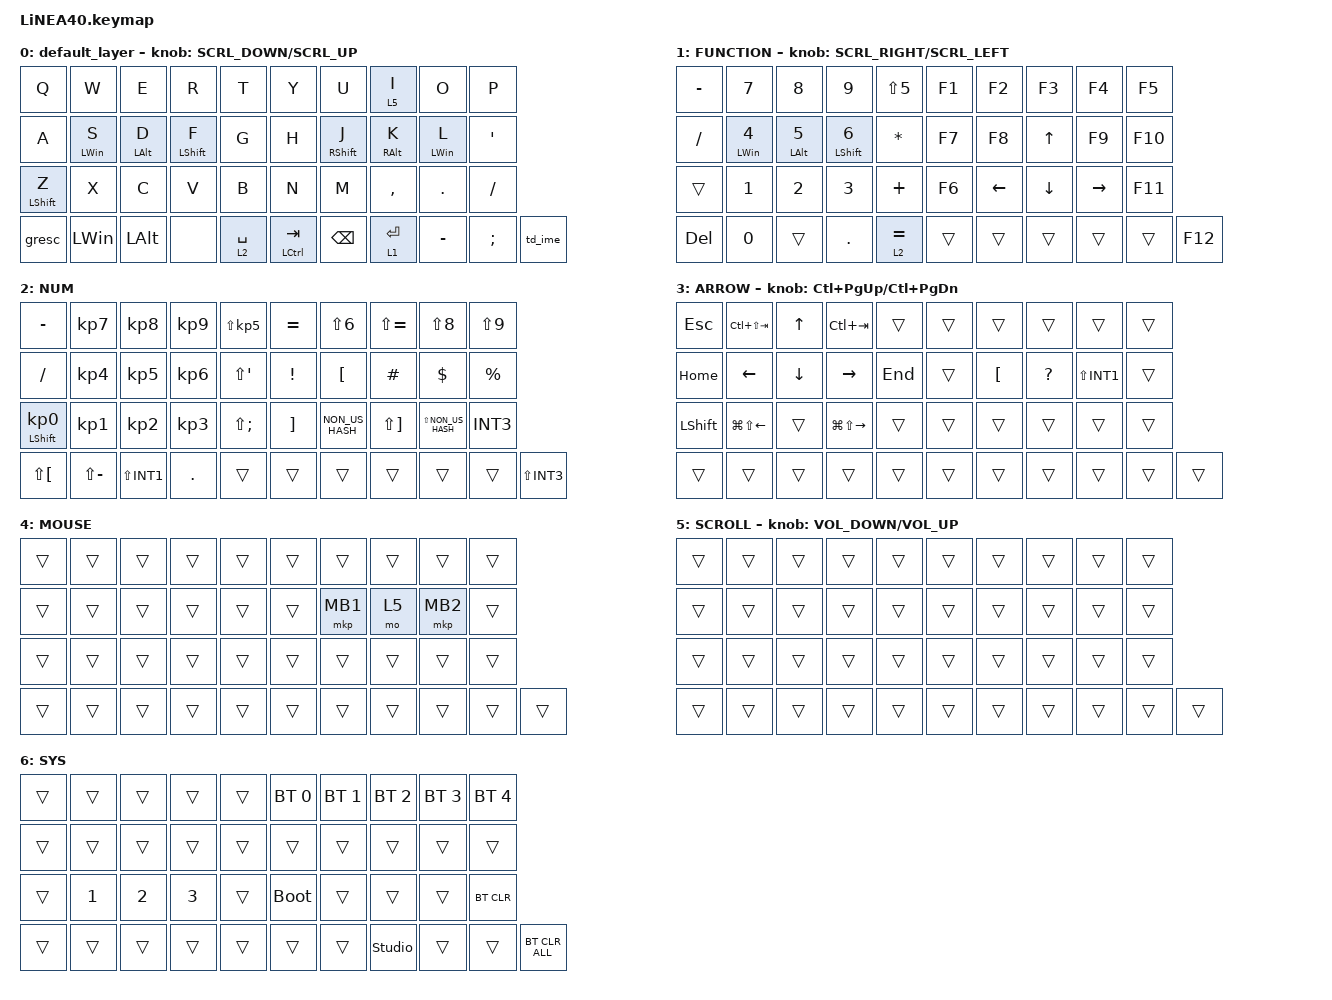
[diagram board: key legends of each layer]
#define ZMK_POINTING_DEFAULT_SCRL_VAL 150

#include <dt-bindings/zmk/input_transform.h>
#include <input/processors.dtsi>
#include <zephyr/dt-bindings/input/input-event-codes.h>
#include <behaviors.dtsi>
#include <dt-bindings/zmk/bt.h>
#include <dt-bindings/zmk/keys.h>
#include <dt-bindings/zmk/pointing.h>

// レイヤー番号（roBa / Keyball39 と共通）
#define FUNCTION 1
#define NUM 2
#define ARROW 3
#define MOUSE 4
#define SCROLL 5
#define SYS 6

//mouse cursol

&mt {
    flavor = "balanced";
    quick-tap-ms = <0>;
};

&mmv {
    delay-ms = <20>;
    trigger-period-ms = <5>;
    time-to-max-speed-ms = <100>;
    acceleration-exponent = <2>;
};

//mouse scroll

&msc {
    delay-ms = <3>;
    trigger-period-ms = <3>;
    time-to-max-speed-ms = <100>;
    acceleration-exponent = <0>;
};

/ {
    input_processors {
        zip_wheel_scaler: zip_wheel_scaler {
            compatible = "zmk,input-processor-scaler";
            #input-processor-cells = <2>;
            type = <INPUT_EV_REL>;
            codes = <INPUT_REL_WHEEL>;
            track-remainders;
        };
    };
};

&msc_input_listener {
    speed_up {
        layers = <FUNCTION>;
        input-processors = <&zip_wheel_scaler 3 1>; //スクロールを3倍速にする
    };
};

&trackball_listener {
    scroller {
        layers = <SCROLL>;
        input-processors =
            <&zip_xy_transform INPUT_TRANSFORM_Y_INVERT>,
            //スクロール方向を逆転
            <&zip_xy_to_scroll_mapper>;
    };
};

/ {
    // roBa / Keyball39 と同じ同時押し（D+F=英数, J+K=かな, L+'=", F+G=Win+Shift+S, H+J=-, V+B=:, N+M=;）
    combos {
        compatible = "zmk,combos";

        eisu {
            bindings = <&kp LANG2>;
            key-positions = <12 13>;
        };

        kana {
            bindings = <&kp LANG1>;
            key-positions = <16 17>;
        };

        double_quotation {
            bindings = <&kp DOUBLE_QUOTES>;
            key-positions = <18 19>;
        };

        snip {
            bindings = <&kp LS(LG(S))>;
            key-positions = <13 14>;
        };

        minus {
            bindings = <&kp MINUS>;
            key-positions = <15 16>;
        };

        colon {
            bindings = <&kp COLON>;
            key-positions = <23 24>;
        };

        semicolon {
            bindings = <&kp SEMICOLON>;
            key-positions = <25 26>;
        };

        // Space+Tab を同時に押している間は SYS（LiNEA40はノブを押し込めないため）
        sys_layer_combo {
            bindings = <&mo 6>;
            key-positions = <34 35>;
        };
    };

    // Space長押し(NUM) と Enter長押し(FUNCTION) を同時に押している間は ARROW
    conditional_layers {
        compatible = "zmk,conditional-layers";

        arrow_cond {
            if-layers = <1 2>;
            then-layer = <3>;
        };
    };

    macros {
        to_layer_0: to_layer_0 {
            compatible = "zmk,behavior-macro-one-param";
            #binding-cells = <1>;
            bindings = <&to 0 &macro_param_1to1 &kp MACRO_PLACEHOLDER>;
            label = "TO_LAYER_0";
        };
    };

    behaviors {
        re_kp: sensor_rotate_kp {
            compatible = "zmk,behavior-sensor-rotate-var";
            #sensor-binding-cells = <2>;
            bindings = <&kp>, <&kp>;
        };

        mouse_scrl: mouse_wheel_scrl {
            compatible = "zmk,behavior-sensor-rotate-var";
            #sensor-binding-cells = <2>;
            bindings = <&msc>, <&msc>;

            tap-ms = <20>;
        };

        // 1回タップ=英数 / 2回タップ=かな
        td_ime: tap_dance_ime {
            compatible = "zmk,behavior-tap-dance";
            label = "TD_IME";
            #binding-cells = <0>;
            tapping-term-ms = <200>;
            bindings = <&kp LANG2>, <&kp LANG1>;
        };

        // 長押し=SYSレイヤー / タップ=レイヤー0に戻って「変換」
        lt_to_layer_0: lt_to_layer_0 {
            compatible = "zmk,behavior-hold-tap";
            label = "LAYER_TAP_TO_0";
            bindings = <&mo>, <&to_layer_0>;

            #binding-cells = <2>;
            tapping-term-ms = <200>;
        };
    };

    keymap {
        compatible = "zmk,keymap";

        default_layer {
            bindings = <
&kp Q  &kp W  &kp E  &kp R  &kp T  &kp Y  &kp U  &lt 5 I  &kp O  &kp P
&kp A  &mt LEFT_WIN S  &mt LEFT_ALT D  &mt LEFT_SHIFT F  &kp G  &kp H  &mt RIGHT_SHIFT J  &mt RIGHT_ALT K  &mt LWIN L  &kp SQT
&mt LEFT_SHIFT Z  &kp X  &kp C  &kp V  &kp B  &kp N  &kp M  &kp COMMA  &kp DOT  &kp SLASH
&gresc  &kp LEFT_WIN  &kp LEFT_ALT  &none  &lt 2 SPACE  &mt LEFT_CONTROL TAB  &kp BACKSPACE  &lt 1 ENTER  &kp MINUS  &kp SEMICOLON  &td_ime
            >;

            sensor-bindings = <&mouse_scrl SCRL_DOWN SCRL_UP>;
        };

        function_layer {
            display-name = "FUNCTION";
            bindings = <
&kp MINUS  &kp NUMBER_7  &kp N8  &kp NUMBER_9  &kp LS(N5)  &kp F1  &kp F2  &kp F3  &kp F4  &kp F5
&kp SLASH  &mt LEFT_WIN NUMBER_4  &mt LEFT_ALT NUMBER_5  &mt LSHFT NUMBER_6  &kp ASTERISK  &kp F7  &kp F8  &kp UP_ARROW  &kp F9  &kp F10
&trans  &kp NUMBER_1  &kp NUMBER_2  &kp NUMBER_3  &kp PLUS  &kp F6  &kp LEFT_ARROW  &kp DOWN_ARROW  &kp RIGHT  &kp F11
&kp DELETE  &kp N0  &trans  &kp PERIOD  &lt 2 EQUAL  &trans  &trans  &trans  &trans  &trans  &kp F12
            >;

            sensor-bindings = <&mouse_scrl SCRL_RIGHT SCRL_LEFT>;
        };

        num_layer {
            display-name = "NUM";
            bindings = <
&kp MINUS  &kp KP_NUMBER_7  &kp KP_NUMBER_8  &kp KP_NUMBER_9  &kp LS(KP_NUMBER_5)  &kp EQUAL  &kp LS(N6)  &kp LS(EQUAL)  &kp LS(N8)  &kp LS(N9)
&kp SLASH  &kp KP_NUMBER_4  &kp KP_NUMBER_5  &kp KP_NUMBER_6  &kp LS(SQT)  &kp EXCLAMATION  &kp LEFT_BRACKET  &kp HASH  &kp DOLLAR  &kp PERCENT
&mt LEFT_SHIFT KP_NUMBER_0  &kp KP_NUMBER_1  &kp KP_NUMBER_2  &kp KP_NUMBER_3  &kp LS(SEMI)  &kp RIGHT_BRACKET  &kp NON_US_HASH  &kp LS(RIGHT_BRACKET)  &kp LS(NON_US_HASH)  &kp INT3
&kp LS(LEFT_BRACKET)  &kp LS(MINUS)  &kp LS(INT1)  &kp PERIOD  &trans  &trans  &trans  &trans  &trans  &trans  &kp LS(INT3)
            >;
        };

        arrow_layer {
            display-name = "ARROW";
            bindings = <
&kp ESCAPE  &kp LC(LS(TAB))  &kp UP_ARROW  &kp LC(TAB)  &trans  &trans  &trans  &trans  &trans  &trans
&kp HOME  &kp LEFT_ARROW  &kp DOWN_ARROW  &kp RIGHT_ARROW  &kp END  &trans  &kp LEFT_BRACKET  &kp QUESTION  &kp LS(INT1)  &trans
&kp LEFT_SHIFT  &kp LG(LS(LEFT_ARROW))  &trans  &kp LG(LS(RIGHT_ARROW))  &trans  &trans  &trans  &trans  &trans  &trans
&trans  &trans  &trans  &trans  &trans  &trans  &trans  &trans  &trans  &trans  &trans
            >;

            sensor-bindings = <&inc_dec_kp LC(PAGE_UP) LC(PAGE_DOWN)>;
        };

        mouse_layer {
            display-name = "MOUSE";
            bindings = <
&trans  &trans  &trans  &trans  &trans  &trans  &trans  &trans  &trans  &trans
&trans  &trans  &trans  &trans  &trans  &trans  &mkp MB1  &mo 5  &mkp MB2  &trans
&trans  &trans  &trans  &trans  &trans  &trans  &trans  &trans  &trans  &trans
&trans  &trans  &trans  &trans  &trans  &trans  &trans  &trans  &trans  &trans  &trans
            >;
        };

        scroll_layer {
            display-name = "SCROLL";
            bindings = <
&trans  &trans  &trans  &trans  &trans  &trans  &trans  &trans  &trans  &trans
&trans  &trans  &trans  &trans  &trans  &trans  &trans  &trans  &trans  &trans
&trans  &trans  &trans  &trans  &trans  &trans  &trans  &trans  &trans  &trans
&trans  &trans  &trans  &trans  &trans  &trans  &trans  &trans  &trans  &trans  &trans
            >;

            sensor-bindings = <&inc_dec_kp C_VOLUME_DOWN C_VOLUME_UP>;
        };

        sys_layer {
            display-name = "SYS";
            bindings = <
&trans  &trans  &trans  &trans  &trans  &bt BT_SEL 0  &bt BT_SEL 1  &bt BT_SEL 2  &bt BT_SEL 3  &bt BT_SEL 4
&trans  &trans  &trans  &trans  &trans  &trans  &trans  &trans  &trans  &trans
&trans  &kp NUMBER_1  &kp NUMBER_2  &kp NUMBER_3  &trans  &bootloader  &trans  &trans  &trans  &bt BT_CLR
&trans  &trans  &trans  &trans  &trans  &trans  &trans  &studio_unlock  &trans  &trans  &bt BT_CLR_ALL
            >;
        };
    };
};
